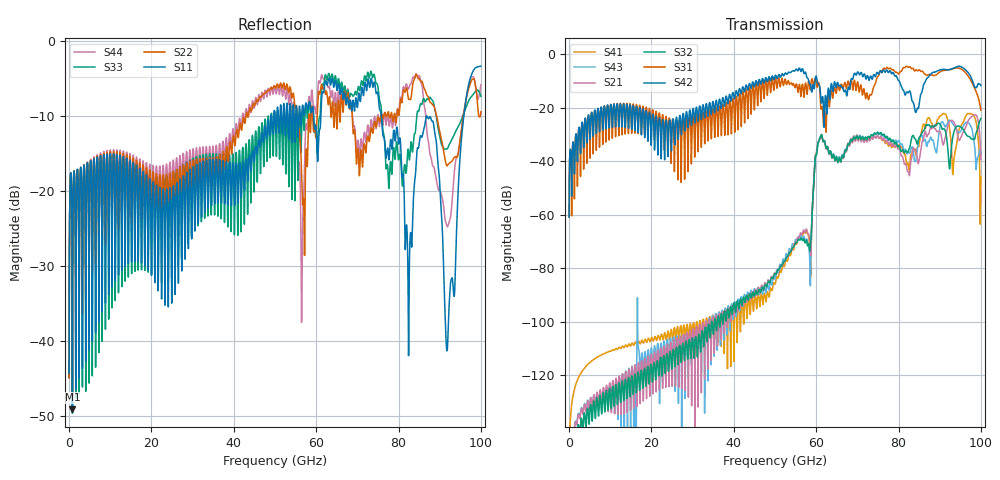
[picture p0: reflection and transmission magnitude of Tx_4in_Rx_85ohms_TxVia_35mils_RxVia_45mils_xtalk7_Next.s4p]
! Info: Touchstone file created by Circ.  Input file=Tx_4in_Rx_85ohms_TxVia_35mils_RxVia_45mils.circ
# Hz S RI R 50
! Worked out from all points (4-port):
!   10000 points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, 10 MHz to 100 GHz, reference 50 ohm
!   strongest paths, dB at 10 MHz, 25.01 GHz, 50.01 GHz, 75.01 GHz, 100 GHz:
!     S42: -60.9, -28.3, -8.1, -7.1, -11.6
!     S31: -60.9, -25.9, -9.4, -8.2, -20.9
!     S32: -179.7, -115.5, -82.0, -29.1, -23.9
!     S21: -175.1, -119.4, -82.0, -30.4, -39.4
!     S43: -174.7, -124.3, -84.1, -29.8, -37.2
!     S41: -161.9, -105.0, -86.0, -30.9, -45.8
!   lowest |S11| = -49.1 dB at 810 MHz (marker M1), VSWR 1.01, Z = 49.7 - j0.0252 ohm
!   |S11| at or under -10 dB: start of sweep to 48.99 GHz; 75.83 GHz to 86.75 GHz (10.92 GHz wide, 13.4 % of centre); 86.94 GHz to 95.85 GHz (8.912 GHz wide, 9.75 % of centre)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
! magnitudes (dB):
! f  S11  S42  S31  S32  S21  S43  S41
! 10 MHz  -44.3  -60.9  -60.9  -179.7  -175.1  -174.7  -161.9
! 810 MHz  -49.1  -35.5  -35.5  -147.4  -142.7  -142.5  -129.0
! 51.29 GHz  -8.9  -8.5  -12.0  -79.5  -79.4  -79.0  -81.3
! 58.38 GHz  -8.0  -10.9  -11.2  -72.7  -68.8  -75.0  -71.1
! 61.05 GHz  -11.1  -14.7  -18.1  -30.8  -30.7  -30.9  -30.9
! 91.76 GHz  -41.3  -5.8  -5.9  -32.1  -28.0  -26.1  -23.5
! 100 GHz  -3.3  -11.6  -20.9  -23.9  -39.4  -37.2  -45.8
